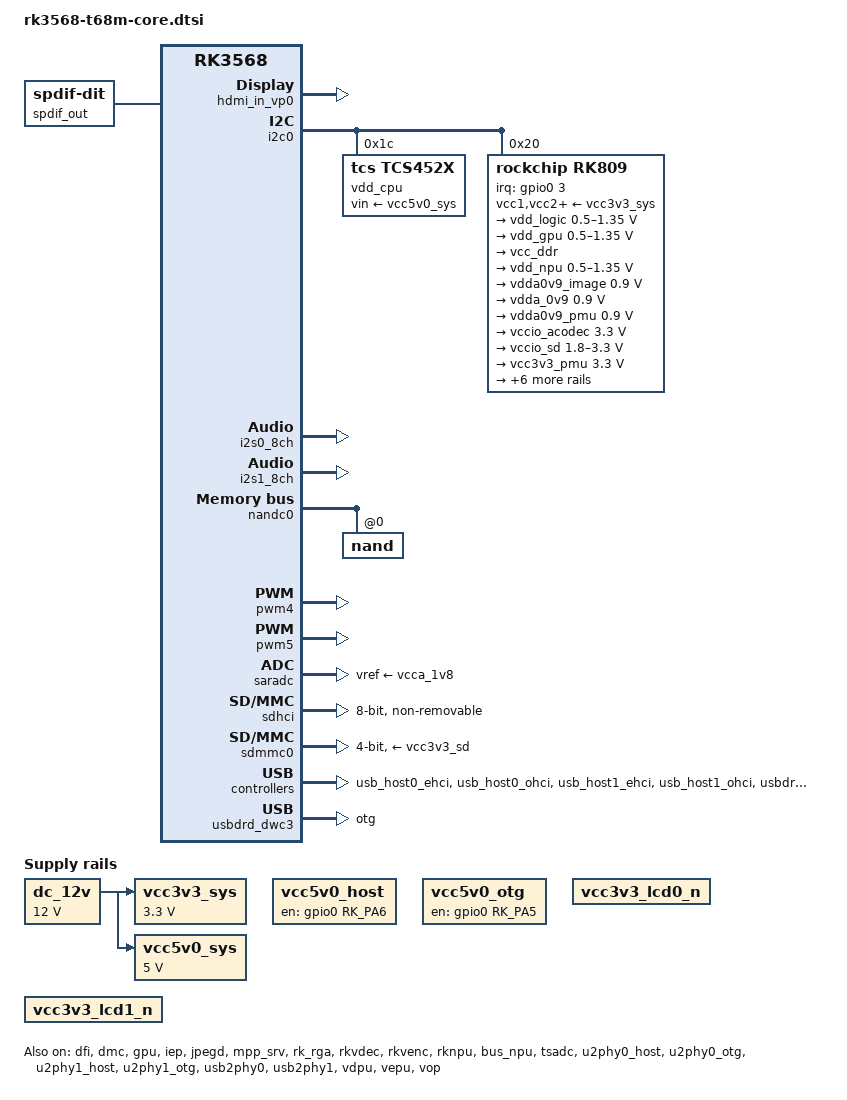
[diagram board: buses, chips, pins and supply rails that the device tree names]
// SPDX-License-Identifier: (GPL-2.0+ OR MIT)
/*
 * Copyright (c) 2020 Rockchip Electronics Co., Ltd.
 *
 */

/dts-v1/;

#include <dt-bindings/gpio/gpio.h>
#include <dt-bindings/pwm/pwm.h>
#include <dt-bindings/pinctrl/rockchip.h>
#include <dt-bindings/input/rk-input.h>
#include <dt-bindings/display/drm_mipi_dsi.h>
#include <dt-bindings/sensor-dev.h>
#include "rk3568.dtsi"

/ {

	dc_12v: dc-12v {
		compatible = "regulator-fixed";
		regulator-name = "dc_12v";
		regulator-always-on;
		regulator-boot-on;
		regulator-min-microvolt = <12000000>;
		regulator-max-microvolt = <12000000>;
	};

	hdmi_sound: hdmi-sound {
		compatible = "simple-audio-card";
		simple-audio-card,format = "i2s";
		simple-audio-card,mclk-fs = <128>;
		simple-audio-card,name = "rockchip,hdmi";
		status = "disabled";

		simple-audio-card,cpu {
				sound-dai = <&i2s0_8ch>;
		};
		simple-audio-card,codec {
				sound-dai = <&hdmi>;
		};
	};

	pdmics: dummy-codec {
		status = "disabled";
		compatible = "rockchip,dummy-codec";
		#sound-dai-cells = <0>;
	};

	pdm_mic_array: pdm-mic-array {
		status = "disabled";
		compatible = "simple-audio-card";
		simple-audio-card,name = "rockchip,pdm-mic-array";
		simple-audio-card,cpu {
			sound-dai = <&pdm>;
		};
		simple-audio-card,codec {
			sound-dai = <&pdmics>;
		};
	};

	rk809_sound: rk809-sound {
		status = "okay";
		compatible = "simple-audio-card";
		simple-audio-card,format = "i2s";
		simple-audio-card,name = "rockchip,rk809-codec";
		simple-audio-card,mclk-fs = <256>;
		simple-audio-card,widgets =
                        "Microphone", "Mic Jack",
                        "Headphone", "Headphone Jack";
        simple-audio-card,routing =
                        "Mic Jack", "MICBIAS1",
                        "IN1P", "Mic Jack",
                        "Headphone Jack", "HPOL",
                        "Headphone Jack", "HPOR";
		simple-audio-card,cpu {
			sound-dai = <&i2s1_8ch>;
		};
		simple-audio-card,codec {
			sound-dai = <&rk809_codec>;
		};
	};

	spdif-sound {
		status = "okay";
		compatible = "simple-audio-card";
		simple-audio-card,name = "ROCKCHIP,SPDIF";
		simple-audio-card,cpu {
				sound-dai = <&spdif_8ch>;
		};
		simple-audio-card,codec {
				sound-dai = <&spdif_out>;
		};
	};

	spdif_out: spdif-out {
			status = "okay";
			compatible = "linux,spdif-dit";
			#sound-dai-cells = <0>;
	};

	vad_sound: vad-sound {
		status = "disabled";
		compatible = "rockchip,multicodecs-card";
		rockchip,card-name = "rockchip,rk3568-vad";
		rockchip,cpu = <&i2s1_8ch>;
		rockchip,codec = <&rk809_codec>, <&vad>;
	};

	vcc3v3_sys: vcc3v3-sys {
		compatible = "regulator-fixed";
		regulator-name = "vcc3v3_sys";
		regulator-always-on;
		regulator-boot-on;
		regulator-min-microvolt = <3300000>;
		regulator-max-microvolt = <3300000>;
		vin-supply = <&dc_12v>;
	};

	vcc5v0_sys: vcc5v0-sys {
		compatible = "regulator-fixed";
		regulator-name = "vcc5v0_sys";
		regulator-always-on;
		regulator-boot-on;
		regulator-min-microvolt = <5000000>;
		regulator-max-microvolt = <5000000>;
		vin-supply = <&dc_12v>;
	};

	vcc5v0_host: vcc5v0-host-regulator {
		compatible = "regulator-fixed";
		enable-active-high;
		gpio = <&gpio0 RK_PA6 GPIO_ACTIVE_HIGH>;
		pinctrl-names = "default";
		pinctrl-0 = <&vcc5v0_host_en>;
		regulator-name = "vcc5v0_host";
		regulator-always-on;
	};

	vcc5v0_otg: vcc5v0-otg-regulator {
		compatible = "regulator-fixed";
		enable-active-high;
		gpio = <&gpio0 RK_PA5 GPIO_ACTIVE_HIGH>;
		pinctrl-names = "default";
		pinctrl-0 = <&vcc5v0_otg_en>;
		regulator-name = "vcc5v0_otg";
	};

	vcc3v3_lcd0_n: vcc3v3-lcd0-n {
		compatible = "regulator-fixed";
		regulator-name = "vcc3v3_lcd0_n";
		regulator-boot-on;
		regulator-state-mem {
			regulator-off-in-suspend;
		};
	};

	vcc3v3_lcd1_n: vcc3v3-lcd1-n {
		compatible = "regulator-fixed";
		regulator-name = "vcc3v3_lcd1_n";
		regulator-boot-on;
		regulator-state-mem {
			regulator-off-in-suspend;
		};
	};

	test-power {
		status = "okay";
	};
};

&cpu0 {
	cpu-supply = <&vdd_cpu>;
};

&dfi {
	status = "okay";
};

&dmc {
	center-supply = <&vdd_logic>;
	status = "okay";
};

&gpu {
	mali-supply = <&vdd_gpu>;
	status = "okay";
};

&hdmi {
	status = "disabled";
};

&hdmi_in_vp0 {
	status = "okay";
};

&hdmi_in_vp1 {
	status = "disabled";
};

&hdmi_sound {
	status = "disabled";
};

&i2c0 {
	status = "okay";

	vdd_cpu: tcs4525@1c {
		compatible = "tcs,tcs452x";
		reg = <0x1c>;
		vin-supply = <&vcc5v0_sys>;
		regulator-compatible = "fan53555-reg";
		regulator-name = "vdd_cpu";
		regulator-min-microvolt = <712500>;
		regulator-max-microvolt = <1390000>;
		regulator-ramp-delay = <2300>;
		fcs,suspend-voltage-selector = <1>;
		regulator-boot-on;
		regulator-always-on;
		regulator-state-mem {
			regulator-off-in-suspend;
		};
	};

	rk809: pmic@20 {
		compatible = "rockchip,rk809";
		reg = <0x20>;
		interrupt-parent = <&gpio0>;
		interrupts = <3 IRQ_TYPE_LEVEL_LOW>;

		pinctrl-names = "default", "pmic-sleep",
				"pmic-power-off", "pmic-reset";
		pinctrl-0 = <&pmic_int>;
		pinctrl-1 = <&soc_slppin_slp>, <&rk817_slppin_slp>;
		pinctrl-2 = <&soc_slppin_gpio>, <&rk817_slppin_pwrdn>;
		pinctrl-3 = <&soc_slppin_gpio>, <&rk817_slppin_rst>;

		rockchip,system-power-controller;
		wakeup-source;
		#clock-cells = <1>;
		clock-output-names = "rk808-clkout1", "rk808-clkout2";
		//fb-inner-reg-idxs = <2>;
		/* 1: rst regs (default in codes), 0: rst the pmic */
		pmic-reset-func = <0>;
		/* not save the PMIC_POWER_EN register in uboot */
		not-save-power-en = <1>;

		vcc1-supply = <&vcc3v3_sys>;
		vcc2-supply = <&vcc3v3_sys>;
		vcc3-supply = <&vcc3v3_sys>;
		vcc4-supply = <&vcc3v3_sys>;
		vcc5-supply = <&vcc3v3_sys>;
		vcc6-supply = <&vcc3v3_sys>;
		vcc7-supply = <&vcc3v3_sys>;
		vcc8-supply = <&vcc3v3_sys>;
		vcc9-supply = <&vcc3v3_sys>;

		pwrkey {
			status = "okay";
		};

		pinctrl_rk8xx: pinctrl_rk8xx {
			gpio-controller;
			#gpio-cells = <2>;

			rk817_slppin_null: rk817_slppin_null {
				pins = "gpio_slp";
				function = "pin_fun0";
			};

			rk817_slppin_slp: rk817_slppin_slp {
				pins = "gpio_slp";
				function = "pin_fun1";
			};

			rk817_slppin_pwrdn: rk817_slppin_pwrdn {
				pins = "gpio_slp";
				function = "pin_fun2";
			};

			rk817_slppin_rst: rk817_slppin_rst {
				pins = "gpio_slp";
				function = "pin_fun3";
			};
		};

		regulators {
			vdd_logic: DCDC_REG1 {
				regulator-always-on;
				regulator-boot-on;
				regulator-min-microvolt = <500000>;
				regulator-max-microvolt = <1350000>;
				regulator-init-microvolt = <900000>;
				regulator-ramp-delay = <6001>;
				regulator-initial-mode = <0x2>;
				regulator-name = "vdd_logic";
				regulator-state-mem {
					regulator-off-in-suspend;
				};
			};

			vdd_gpu: DCDC_REG2 {
				regulator-always-on;
				regulator-boot-on;
				regulator-min-microvolt = <500000>;
				regulator-max-microvolt = <1350000>;
				regulator-init-microvolt = <900000>;
				regulator-ramp-delay = <6001>;
				regulator-initial-mode = <0x2>;
				regulator-name = "vdd_gpu";
				regulator-state-mem {
					regulator-off-in-suspend;
				};
			};

			vcc_ddr: DCDC_REG3 {
				regulator-always-on;
				regulator-boot-on;
				regulator-initial-mode = <0x2>;
				regulator-name = "vcc_ddr";
				regulator-state-mem {
					regulator-on-in-suspend;
				};
			};

			vdd_npu: DCDC_REG4 {
				regulator-always-on;
				regulator-boot-on;
				regulator-min-microvolt = <500000>;
				regulator-max-microvolt = <1350000>;
				regulator-init-microvolt = <900000>;
				regulator-ramp-delay = <6001>;
				regulator-initial-mode = <0x2>;
				regulator-name = "vdd_npu";
				regulator-state-mem {
					regulator-off-in-suspend;
				};
			};

			vdda0v9_image: LDO_REG1 {
				regulator-boot-on;
				regulator-always-on;
				regulator-min-microvolt = <900000>;
				regulator-max-microvolt = <900000>;
				regulator-name = "vdda0v9_image";
				regulator-state-mem {
					regulator-off-in-suspend;
				};
			};

			vdda_0v9: LDO_REG2 {
				regulator-always-on;
				regulator-boot-on;
				regulator-min-microvolt = <900000>;
				regulator-max-microvolt = <900000>;
				regulator-name = "vdda_0v9";
				regulator-state-mem {
					regulator-off-in-suspend;
				};
			};

			vdda0v9_pmu: LDO_REG3 {
				regulator-always-on;
				regulator-boot-on;
				regulator-min-microvolt = <900000>;
				regulator-max-microvolt = <900000>;
				regulator-name = "vdda0v9_pmu";
				regulator-state-mem {
					regulator-on-in-suspend;
					regulator-suspend-microvolt = <900000>;
				};
			};

			vccio_acodec: LDO_REG4 {
				regulator-always-on;
				regulator-boot-on;
				regulator-min-microvolt = <3300000>;
				regulator-max-microvolt = <3300000>;
				regulator-name = "vccio_acodec";
				regulator-state-mem {
					regulator-off-in-suspend;
				};
			};

			vccio_sd: LDO_REG5 {
				regulator-always-on;
				regulator-boot-on;
				regulator-min-microvolt = <1800000>;
				regulator-max-microvolt = <3300000>;
				regulator-name = "vccio_sd";
				regulator-state-mem {
					regulator-off-in-suspend;
				};
			};

			vcc3v3_pmu: LDO_REG6 {
				regulator-always-on;
				regulator-boot-on;
				regulator-min-microvolt = <3300000>;
				regulator-max-microvolt = <3300000>;
				regulator-name = "vcc3v3_pmu";
				regulator-state-mem {
					regulator-on-in-suspend;
					regulator-suspend-microvolt = <3300000>;
				};
			};

			vcca_1v8: LDO_REG7 {
				regulator-always-on;
				regulator-boot-on;
				regulator-min-microvolt = <1800000>;
				regulator-max-microvolt = <1800000>;
				regulator-name = "vcca_1v8";
				regulator-state-mem {
					regulator-off-in-suspend;
				};
			};

			vcca1v8_pmu: LDO_REG8 {
				regulator-always-on;
				regulator-boot-on;
				regulator-min-microvolt = <1800000>;
				regulator-max-microvolt = <1800000>;
				regulator-name = "vcca1v8_pmu";
				regulator-state-mem {
					regulator-on-in-suspend;
					regulator-suspend-microvolt = <1800000>;
				};
			};

			vcca1v8_image: LDO_REG9 {
				regulator-always-on;
				regulator-boot-on;
				regulator-min-microvolt = <1800000>;
				regulator-max-microvolt = <1800000>;
				regulator-name = "vcca1v8_image";
				regulator-state-mem {
					regulator-off-in-suspend;
				};
			};

			vcc_1v8: DCDC_REG5 {
				regulator-always-on;
				regulator-boot-on;
				regulator-min-microvolt = <1800000>;
				regulator-max-microvolt = <1800000>;
				regulator-name = "vcc_1v8";
				regulator-state-mem {
					regulator-off-in-suspend;
				};
			};

			vcc_3v3: SWITCH_REG1 {
				regulator-always-on;
				regulator-boot-on;
				regulator-name = "vcc_3v3";
				regulator-state-mem {
					regulator-off-in-suspend;
				};
			};

			vcc3v3_sd: SWITCH_REG2 {
				regulator-always-on;
				regulator-boot-on;
				regulator-name = "vcc3v3_sd";
				regulator-state-mem {
					regulator-off-in-suspend;
				};
			};
		};

		rk809_codec: codec {
			#sound-dai-cells = <0>;
			compatible = "rockchip,rk809-codec", "rockchip,rk817-codec";
			clocks = <&cru I2S1_MCLKOUT>;
			clock-names = "mclk";
			assigned-clocks = <&cru I2S1_MCLKOUT>, <&cru I2S1_MCLK_TX_IOE>;
			assigned-clock-rates = <12288000>;
			assigned-clock-parents = <&cru I2S1_MCLKOUT_TX>, <&cru I2S1_MCLKOUT_TX>;
			pinctrl-names = "default","spk_gpio";
			pinctrl-0 = <&i2s1m0_mclk>;
			pinctrl-1 = <&spk_ctl_gpio>;
			hp-volume = <20>;
			spk-volume = <3>;
			//mic-in-differential;

			capture-volume = <0>;
			io-channels = <&saradc 4>;
			hp-det-adc-value = <1000>;
			spk-ctl-gpios = <&gpio3 RK_PC5 GPIO_ACTIVE_HIGH>;
			status = "okay";
		};
	};
};

&i2s0_8ch {
	status = "okay";
};

&i2s1_8ch {
	status = "okay";
	rockchip,clk-trcm = <1>;
	pinctrl-names = "default";
	pinctrl-0 = <&i2s1m0_sclktx
		     &i2s1m0_lrcktx
		     &i2s1m0_sdi0
		     &i2s1m0_sdo0>;
};

&iep {
	status = "okay";
};

&iep_mmu {
	status = "okay";
};

&jpegd {
	status = "okay";
};

&jpegd_mmu {
	status = "okay";
};

&mpp_srv {
	status = "okay";
};

&nandc0 {
	#address-cells = <1>;
	#size-cells = <0>;
	status = "okay";

	nand@0 {
		reg = <0>;
		nand-bus-width = <8>;
		nand-ecc-mode = "hw";
		nand-ecc-strength = <16>;
		nand-ecc-step-size = <1024>;
	};
};

&pmu_io_domains {
	status = "okay";
	pmuio1-supply = <&vcc3v3_pmu>;
	pmuio2-supply = <&vcc3v3_pmu>;
	vccio1-supply = <&vccio_acodec>;
	vccio3-supply = <&vccio_sd>;
	vccio4-supply = <&vcc_1v8>;
	vccio5-supply = <&vcc_3v3>;
	vccio6-supply = <&vcc_1v8>;
	vccio7-supply = <&vcc_3v3>;
};

&pwm4 {
	status = "okay";
};

&pwm5 {
	status = "okay";
};

&rk_rga {
	status = "okay";
};

&rkvdec {
	status = "okay";
};

&rkvdec_mmu {
	status = "okay";
};

&rkvenc {
	venc-supply = <&vdd_logic>;
	status = "okay";
};

&rkvenc_mmu {
	status = "okay";
};

&rknpu {
	rknpu-supply = <&vdd_npu>;
	status = "okay";
};

&rknpu_mmu {
	status = "okay";
};

&bus_npu {
	bus-supply = <&vdd_logic>;
	pvtm-supply = <&vdd_cpu>;
	status = "okay";
};

&saradc {
	status = "okay";
	vref-supply = <&vcca_1v8>;
};

&sdhci {
	bus-width = <8>;
	supports-emmc;
	non-removable;
	max-frequency = <200000000>;
	status = "okay";
};

&sdmmc0 {
	max-frequency = <150000000>;
	supports-sd;
	bus-width = <4>;
	cap-mmc-highspeed;
	cap-sd-highspeed;
	disable-wp;
	sd-uhs-sdr104;
	vmmc-supply = <&vcc3v3_sd>;
	vqmmc-supply = <&vccio_sd>;
	pinctrl-names = "default";
	pinctrl-0 = <&sdmmc0_bus4 &sdmmc0_clk &sdmmc0_cmd &sdmmc0_det>;
	status = "okay";
};

&spdif_8ch {
	status = "disabled";
};

&tsadc {
	status = "okay";
};

&u2phy0_host {
	phy-supply = <&vcc5v0_host>;
	status = "okay";
};

&u2phy0_otg {
	vbus-supply = <&vcc5v0_otg>;
	status = "okay";
};

&u2phy1_host {
	phy-supply = <&vcc5v0_host>;
	status = "okay";
};

&u2phy1_otg {
	phy-supply = <&vcc5v0_host>;
	status = "okay";
};

&usb2phy0 {
	status = "okay";
};

&usb2phy1 {
	status = "okay";
};

&usb_host0_ehci {
	status = "okay";
};

&usb_host0_ohci {
	status = "okay";
};

&usb_host1_ehci {
	status = "okay";
};

&usb_host1_ohci {
	status = "okay";
};

&usbdrd_dwc3 {
	dr_mode = "otg";
	extcon = <&usb2phy0>;
	status = "okay";
};

&usbdrd30 {
	status = "okay";
};

&usbhost_dwc3 {
	status = "okay";
};

&usbhost30 {
	status = "okay";
};

&vad {
	rockchip,audio-src = <&i2s1_8ch>;
	rockchip,buffer-time-ms = <128>;
	rockchip,det-channel = <0>;
	rockchip,mode = <0>;
};

&vdpu {
	status = "okay";
};

&vdpu_mmu {
	status = "okay";
};

&vepu {
	status = "okay";
};

&vepu_mmu {
	status = "okay";
};

&vop {
	status = "okay";
	assigned-clocks = <&cru DCLK_VOP0>, <&cru DCLK_VOP1>;
	assigned-clock-parents = <&pmucru PLL_HPLL>, <&cru PLL_VPLL>;
};

&vop_mmu {
	status = "okay";
};

&pinctrl {

	pmic {
		pmic_int: pmic_int {
			rockchip,pins =
				<0 RK_PA3 RK_FUNC_GPIO &pcfg_pull_up>;
		};

		soc_slppin_gpio: soc_slppin_gpio {
			rockchip,pins =
				<0 RK_PA2 RK_FUNC_GPIO &pcfg_output_low_pull_down>;
		};

		soc_slppin_slp: soc_slppin_slp {
			rockchip,pins =
				<0 RK_PA2 RK_FUNC_1 &pcfg_pull_up>;
		};

		soc_slppin_rst: soc_slppin_rst {
			rockchip,pins =
				<0 RK_PA2 RK_FUNC_2 &pcfg_pull_none>;
		};

		spk_ctl_gpio: spk_ctl_gpio {
			rockchip,pins = <3 RK_PC5 RK_FUNC_GPIO &pcfg_pull_up>;
		};
	};

	usb {
		vcc5v0_host_en: vcc5v0-host-en {
			rockchip,pins = <0 RK_PA6 RK_FUNC_GPIO &pcfg_pull_none>;
		};

		vcc5v0_otg_en: vcc5v0-otg-en {
			rockchip,pins = <0 RK_PA5 RK_FUNC_GPIO &pcfg_pull_none>;
		};
	};
};
